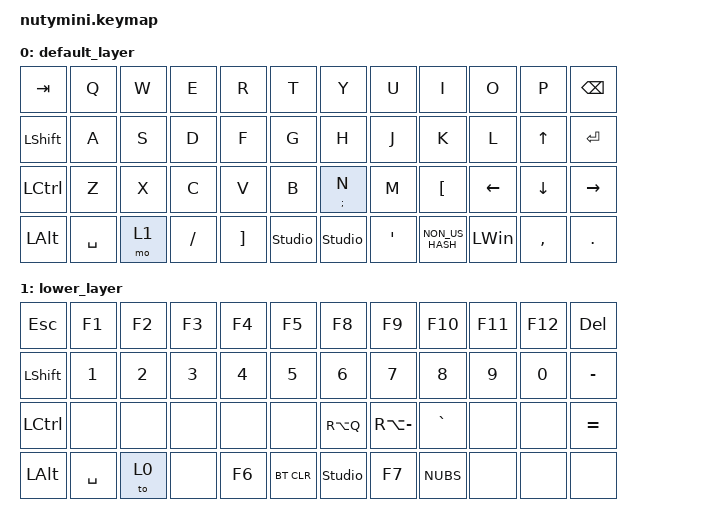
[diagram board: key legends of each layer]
/*
 * Copyright (c) 2020 The ZMK Contributors
 *
 * SPDX-License-Identifier: MIT
 */

#include <behaviors.dtsi>
#include <dt-bindings/zmk/bt.h>
#include <dt-bindings/zmk/keys.h>

/ {
    behaviors {
        hm: homerow_mods {
            compatible = "zmk,behavior-hold-tap";
            #binding-cells = <2>;
            tapping-term-ms = <150>;
            flavor = "tap-preferred";
            require-prior-idle-ms = <125>;
            bindings = <&kp>, <&kp>;
        };
    };

    keymap {
        compatible = "zmk,keymap";

        default_layer {
            bindings = <
&kp TAB       &kp Q      &kp W  &kp E      &kp R              &kp T           &kp Y            &kp U             &kp I             &kp O           &kp P           &kp BSPC
&kp LSHIFT    &kp A      &kp S  &kp D      &kp F              &kp G           &kp H            &kp J             &kp K             &kp L           &kp UP          &kp ENTER
&kp LCTRL     &kp Z      &kp X  &kp C      &kp V              &kp B           &hm SEMICOLON N  &kp M             &kp LEFT_BRACKET  &kp LEFT_ARROW  &kp DOWN_ARROW  &kp RIGHT_ARROW
&kp LEFT_ALT  &kp SPACE  &mo 1  &kp SLASH  &kp RIGHT_BRACKET  &studio_unlock  &studio_unlock   &kp SINGLE_QUOTE  &kp NON_US_HASH   &kp LWIN        &kp COMMA       &kp DOT
            >;
        };

        lower_layer {
            bindings = <
&kp ESCAPE      &kp F1        &kp F2        &kp F3        &kp F4        &kp F5      &kp F8          &kp F9         &kp F10    &kp F11  &kp F12  &kp DELETE
&kp LEFT_SHIFT  &kp NUMBER_1  &kp NUMBER_2  &kp NUMBER_3  &kp NUMBER_4  &kp N5      &kp NUMBER_6    &kp N7         &kp N8     &kp N9   &kp N0   &kp MINUS
&kp LCTRL       &none         &none         &none         &none         &none       &kp RA(Q)       &kp RA(MINUS)  &kp GRAVE  &none    &none    &kp EQUAL
&kp LEFT_ALT    &kp SPACE     &to 0         &none         &kp F6        &bt BT_CLR  &studio_unlock  &kp F7         &kp NUBS   &none    &none    &none
            >;
        };
    };
};
